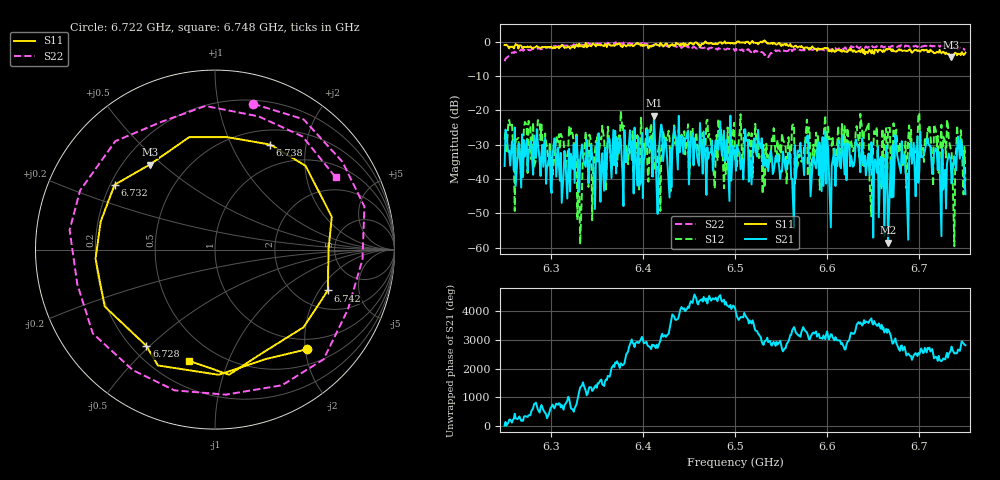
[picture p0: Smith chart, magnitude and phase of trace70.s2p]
# Hz S RI R 50
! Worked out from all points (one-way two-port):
!   401 points, 6.25 GHz to 6.75 GHz, reference 50 ohm
!   highest |S21| = -21.53 dB at 6.412 GHz (marker M1); lowest = -58.5 dB at 6.666 GHz (marker M2)
!   lowest |S11| = -4.5 dB at 6.734 GHz (marker M3), VSWR 3.96, Z = 15.5 + j22.8 ohm
!   |S11| at or under -10 dB: nowhere
!   |S22| runs from -5.7 to -0.1 dB; largest |S21 - S12| = 0.12
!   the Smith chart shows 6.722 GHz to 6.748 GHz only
!   S11 on the Smith chart (normalised r, x): 6.722 GHz: 0.79, -2.04; 6.728 GHz: 0.26, -0.49; 6.732 GHz: 0.22, +0.28; 6.738 GHz: 0.69, +1.42; 6.742 GHz: 2.92, -2.40; 6.748 GHz: 0.35, -0.73
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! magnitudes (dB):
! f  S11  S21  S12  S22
! 6.25 GHz  -1.0  -36.2  -28.5  -5.7
! 6.322 GHz  -1.7  -32.7  -25.3  -1.2
! 6.331 GHz  -0.6  -43.7  -42.8  -0.7
! 6.334 GHz  -1.3  -29.9  -42.6  -0.9
! 6.338 GHz  -0.4  -36.5  -26.2  -0.5
! 6.378 GHz  -1.6  -38.7  -26.1  -0.8
! 6.412 GHz  -0.9  -21.5  -35.7  -1.2
! 6.418 GHz  -1.3  -29.7  -30.0  -1.1
! 6.425 GHz  -0.6  -29.3  -27.9  -1.8
! 6.5 GHz  -0.6  -31.6  -34.6  -2.7
! 6.584 GHz  -1.4  -36.6  -33.1  -2.5
! 6.666 GHz  -2.2  -58.5  -25.2  -1.3
! 6.668 GHz  -2.1  -42.2  -25.1  -1.8
! 6.676 GHz  -2.8  -33.1  -29.3  -1.6
! 6.722 GHz  -2.4  -34.3  -34.1  -1.5
! 6.728 GHz  -3.6  -37.3  -29.1  -1.7
! 6.732 GHz  -3.5  -32.6  -28.5  -1.8
! 6.734 GHz  -4.5  -34.3  -31.2  -1.8
! 6.738 GHz  -3.6  -33.3  -59.5  -2.0
! 6.742 GHz  -3.5  -27.6  -29.1  -2.2
! 6.748 GHz  -3.9  -35.5  -44.5  -2.1
! 6.75 GHz  -3.2  -44.4  -40.7  -2.4
